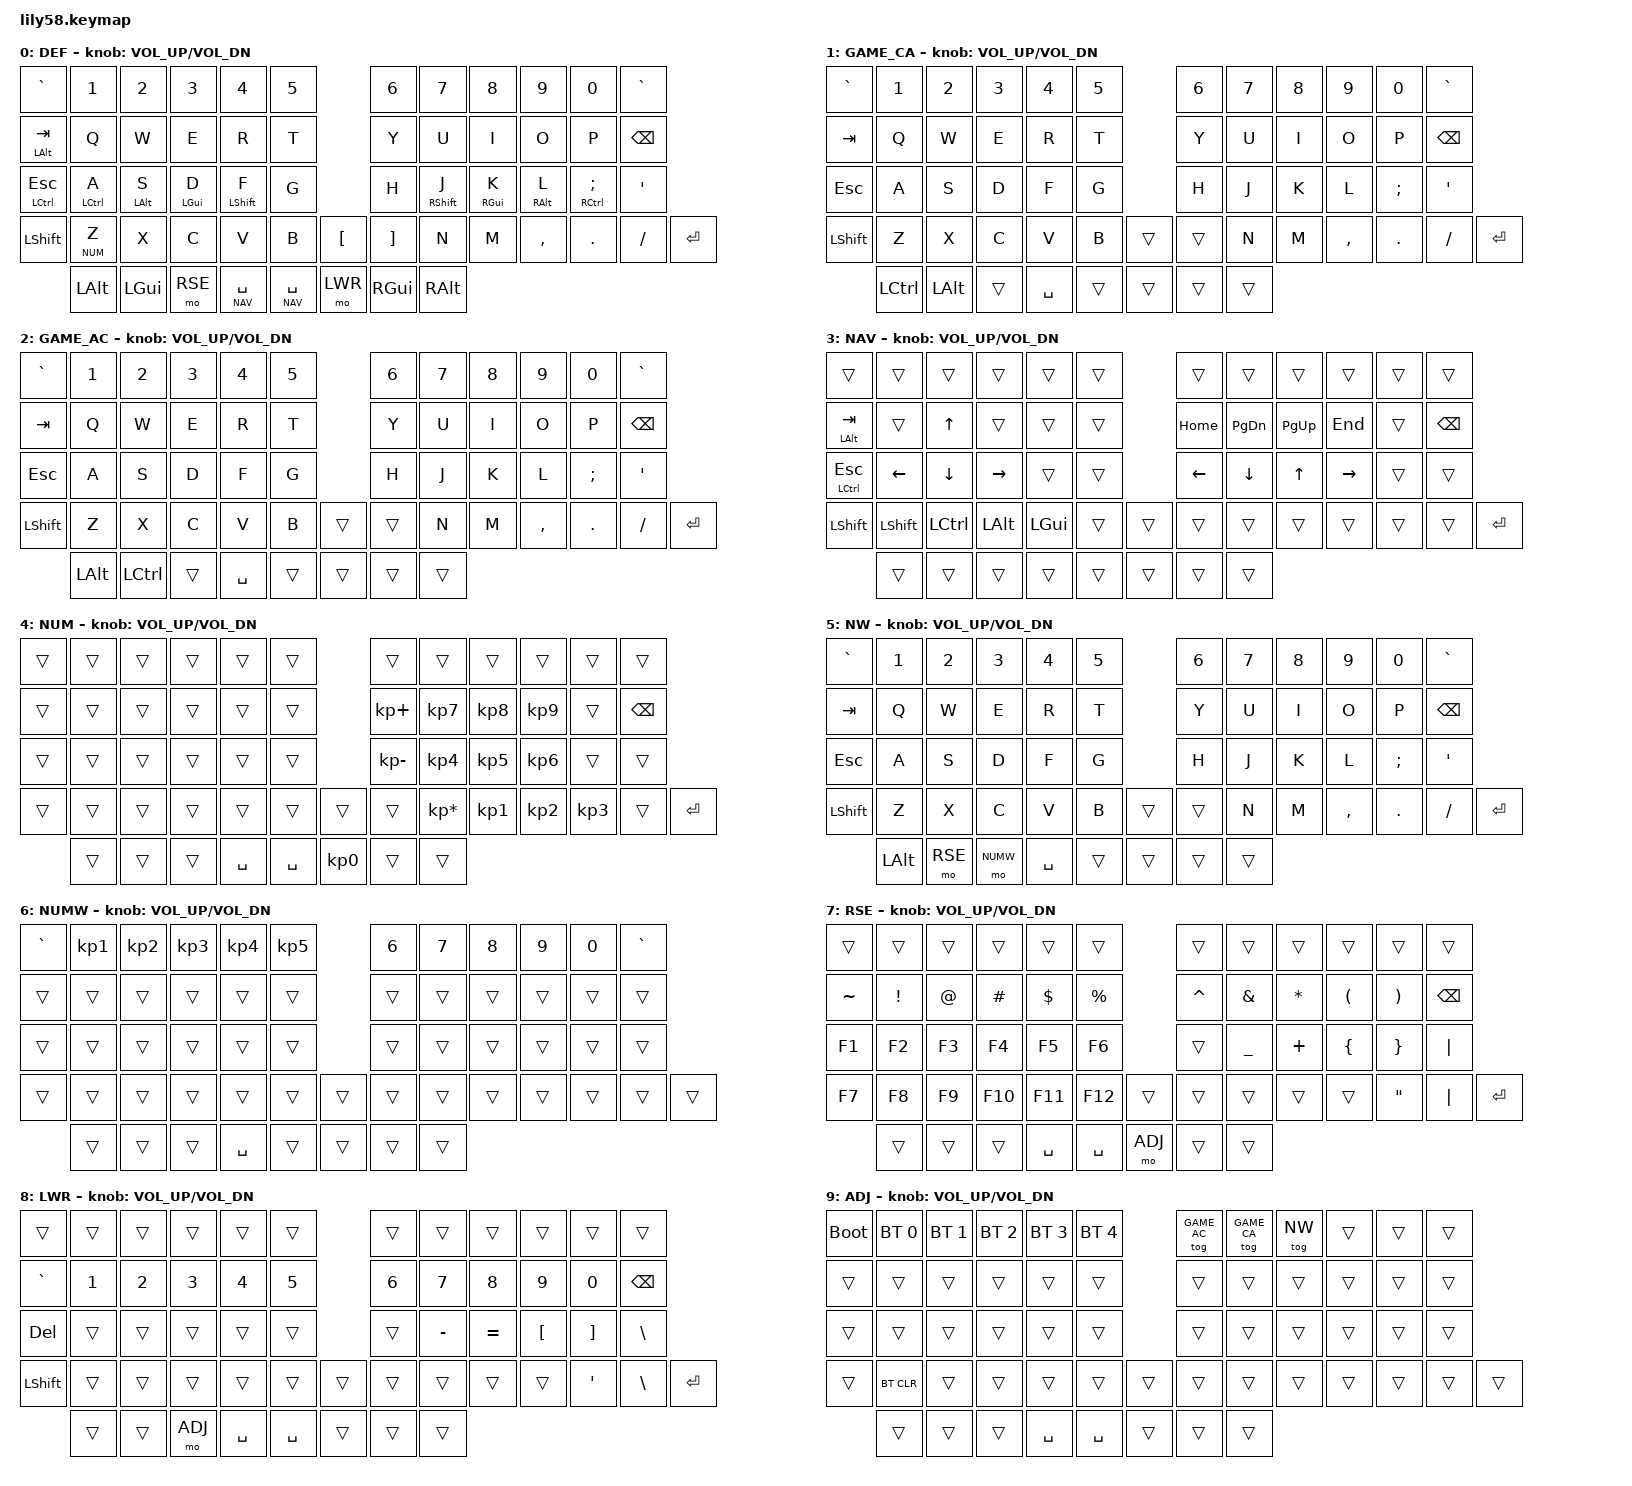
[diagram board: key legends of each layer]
/*
 * Copyright (c) 2020 The ZMK Contributors
 *
 * SPDX-License-Identifier: MIT
 */

#include <behaviors.dtsi>
#include <dt-bindings/zmk/keys.h>
#include <dt-bindings/zmk/bt.h>
#include <dt-bindings/zmk/ext_power.h>

&mt {
    flavor = "hold-preferred";
    tapping-term-ms = <150>;
};

&lt {
        #binding-cells = <2>;
        tapping-term-ms = <170>;
        quick-tap-ms = <150>;
        flavor = "tap-preferred";
};

// Layer aliases
#define DEF 0
#define GAME_CA 1
#define GAME_AC 2
#define NAV 3
#define NUM 4
#define NW 5
#define NUMW 6
#define RSE 7
#define LWR 8
#define ADJ 9

&caps_word {
    continue-list = <UNDERSCORE MINUS BSPC DEL N1 N2 N3 N4 N5 N6 N7 N8 N9 N0>;
};

/ {
        behaviors {
                am: alpha_mods {
                        compatible = "zmk,behavior-hold-tap";
                        label = "ALPHA_MT";
                        #binding-cells = <2>;
                        tapping-term-ms = <200>;
                        quick-tap-ms = <150>;
                        flavor = "tap-preferred";
                        bindings = <&kp>, <&kp>;
                };
                as: alpha_shift {
                        compatible = "zmk,behavior-hold-tap";
                        label = "ALPHA_SFT";
                        #binding-cells = <2>;
                        tapping-term-ms = <170>;
                        quick-tap-ms = <150>;
                        flavor = "tap-preferred";
                        bindings = <&kp>, <&kp>;
                };
        };

        combos {
                compatible = "zmk,combos";

                caps_word {
                        bindings = <&caps_word>;
                        key-positions = <17 18>;
                };
        };


		keymap {
				compatible = "zmk,keymap";

                default_layer {
                        label = "DEF";
                        bindings = <
// ╭─────────────┬──────────────┬─────────────┬──────────────┬─────────────┬─────────────╮   ╭──────────────┬──────────────┬─────────────┬─────────────┬───────────────┬────────────╮
	 &kp GRAVE     &kp N1 		  &kp N2 		 &kp N3   		&kp N4   		 &kp N5           &kp N6 	   &kp N7   	   &kp N8    	&kp N9  	 &kp N0   	 	 &kp GRAVE
// ├─────────────┼──────────────┼─────────────┼──────────────┼─────────────┼─────────────┤   ├──────────────┼──────────────┼─────────────┼─────────────┼───────────────┼────────────┤
     &mt LALT TAB  &kp Q          &kp W          &kp E          &kp R            &kp T            &kp Y        &kp U           &kp I        &kp O        &kp P           &kp BSPC
// ├─────────────┼──────────────┼─────────────┼──────────────┼─────────────┼─────────────┤   ├──────────────┼──────────────┼─────────────┼─────────────┼───────────────┼────────────┤
     &mt LCTRL ESC &am LCTRL A    &am LALT S     &am LGUI D     &as LSHFT F      &kp G            &kp H        &as RSHFT J     &am RGUI K   &am RALT L   &am RCTRL SEMI  &kp SQT
// ├─────────────┼──────────────┼─────────────┼──────────────┼─────────────┼─────────────┤   ├──────────────┼──────────────┼─────────────┼─────────────┼───────────────┼────────────┤
     &kp LSHFT     &lt NUM Z       &kp X         &kp C          &kp V            &kp B  &kp LBKT   &kp RBKT       &kp N        &kp M           &kp COMMA    &kp DOT      &kp FSLH        &kp RET
// ╰─────────────┴─────────────┴──────────────┼──────────────┼─────────────┼─────────────┤   ├──────────────┼──────────────┼─────────────┼─────────────┴───────────────┴────────────╯
				&kp LALT  &kp LGUI    &mo RSE      &lt NAV SPACE  		&lt NAV SPACE     &mo LWR       &kp RGUI	&kp RALT
			>;

			sensor-bindings = <&inc_dec_kp C_VOL_UP C_VOL_DN>;
		};

                game_ca_layer {
                        label= "GAME_CA";
                        bindings = <
// ╭─────────────┬──────────────┬─────────────┬──────────────┬─────────────┬─────────────╮   ╭──────────────┬──────────────┬─────────────┬─────────────┬───────────────┬────────────╮
     &kp GRAVE     &kp N1         &kp N2         &kp N3          &kp N4          &kp N5           &kp N6        &kp N7      &kp N8       &kp N9       &kp N0         &kp GRAVE
// ├─────────────┼──────────────┼─────────────┼──────────────┼─────────────┼─────────────┤   ├──────────────┼──────────────┼─────────────┼─────────────┼───────────────┼────────────┤
     &kp TAB       &kp Q          &kp W          &kp E          &kp R            &kp T            &kp Y        &kp U           &kp I        &kp O        &kp P           &kp BSPC
// ├─────────────┼──────────────┼─────────────┼──────────────┼─────────────┼─────────────┤   ├──────────────┼──────────────┼─────────────┼─────────────┼───────────────┼────────────┤
     &kp ESC       &kp A          &kp S          &kp D          &kp F            &kp G            &kp H        &kp J           &kp K        &kp L         &kp SEMI       &kp SQT
// ├─────────────┼──────────────┼─────────────┼──────────────┼─────────────┼─────────────┤   ├──────────────┼──────────────┼─────────────┼─────────────┼───────────────┼────────────┤
     &kp LSHFT     &kp Z          &kp X          &kp C          &kp V            &kp B  &trans   &trans          &kp N        &kp M           &kp COMMA    &kp DOT      &kp FSLH        &kp RET
// ╰─────────────┴─────────────┴──────────────┼──────────────┼─────────────┼─────────────┤   ├──────────────┼──────────────┼─────────────┼─────────────┴───────────────┴────────────╯
                          	                 &kp LCTRL &kp LALT  &trans  	&kp SPACE   	     &trans       &trans    &trans   &trans
                        >;
			sensor-bindings = <&inc_dec_kp C_VOL_UP C_VOL_DN>;
		};


                game_ac_layer {
                        label= "GAME_AC";
                        bindings = <
// ╭─────────────┬──────────────┬─────────────┬──────────────┬─────────────┬─────────────╮   ╭──────────────┬──────────────┬─────────────┬─────────────┬───────────────┬────────────╮
     &kp GRAVE     &kp N1         &kp N2         &kp N3          &kp N4          &kp N5           &kp N6        &kp N7      &kp N8       &kp N9       &kp N0         &kp GRAVE
// ├─────────────┼──────────────┼─────────────┼──────────────┼─────────────┼─────────────┤   ├──────────────┼──────────────┼─────────────┼─────────────┼───────────────┼────────────┤
     &kp TAB       &kp Q          &kp W          &kp E          &kp R            &kp T            &kp Y        &kp U           &kp I        &kp O        &kp P           &kp BSPC
// ├─────────────┼──────────────┼─────────────┼──────────────┼─────────────┼─────────────┤   ├──────────────┼──────────────┼─────────────┼─────────────┼───────────────┼────────────┤
     &kp ESC       &kp A          &kp S          &kp D          &kp F            &kp G            &kp H        &kp J           &kp K        &kp L         &kp SEMI       &kp SQT
// ├─────────────┼──────────────┼─────────────┼──────────────┼─────────────┼─────────────┤   ├──────────────┼──────────────┼─────────────┼─────────────┼───────────────┼────────────┤
     &kp LSHFT     &kp Z          &kp X          &kp C          &kp V            &kp B  &trans   &trans          &kp N        &kp M           &kp COMMA    &kp DOT      &kp FSLH        &kp RET
// ╰─────────────┴─────────────┴──────────────┼──────────────┼─────────────┼─────────────┤   ├──────────────┼──────────────┼─────────────┼─────────────┴───────────────┴────────────╯
                          	                 &kp LALT &kp LCTRL  &trans  	&kp SPACE   	     &trans       &trans    &trans   &trans
                        >;
			sensor-bindings = <&inc_dec_kp C_VOL_UP C_VOL_DN>;
		};

                nav_layer {
                        label = "NAV";
                        bindings = <
// ╭─────────────┬──────────────┬─────────────┬──────────────┬─────────────┬─────────────╮   ╭──────────────┬──────────────┬─────────────┬─────────────┬───────────────┬────────────╮
	&trans        &trans        &trans        &trans         &trans         &trans           &trans        &trans        &trans        &trans         &trans         &trans
// ├─────────────┼──────────────┼─────────────┼──────────────┼─────────────┼─────────────┤   ├──────────────┼──────────────┼─────────────┼─────────────┼───────────────┼────────────┤
     &mt LALT TAB   &trans          &kp UP       &trans          &trans        &trans             &kp HOME     &kp PG_DN     &kp PG_UP    &kp END        &trans        	&kp BSPC
// ├─────────────┼──────────────┼─────────────┼──────────────┼─────────────┼─────────────┤   ├──────────────┼──────────────┼─────────────┼─────────────┼───────────────┼────────────┤
     &mt LCTRL ESC  &kp LEFT       &kp DOWN      &kp RIGHT       &trans        &trans             &kp LEFT     &kp DOWN      &kp UP       &kp RIGHT      &trans        	&trans
// ├─────────────┼──────────────┼─────────────┼──────────────┼─────────────┼─────────────┤   ├──────────────┼──────────────┼─────────────┼─────────────┼───────────────┼────────────┤
     &kp LSHFT      &kp LSHFT      &kp LCTRL     &kp LALT        &kp LGUI      &trans   &trans   &trans          &trans       &trans        &trans       &trans         &trans        	&kp RET
// ╰─────────────┴─────────────┴──────────────┼──────────────┼─────────────┼─────────────┤   ├──────────────┼──────────────┼─────────────┼─────────────┴───────────────┴────────────╯
                          	   		&trans       &trans         &trans        &trans              &trans         &trans          &trans			&trans
			>;

			sensor-bindings = <&inc_dec_kp C_VOL_UP C_VOL_DN>;
		};

		numpad_layer {
                        label = "NUM";
                        bindings = <
// ╭─────────────┬──────────────┬─────────────┬──────────────┬─────────────┬─────────────╮   ╭──────────────┬──────────────┬─────────────┬─────────────┬───────────────┬────────────╮
	&trans        &trans        &trans        &trans         &trans         &trans           &trans        &trans        &trans        &trans         &trans         &trans
// ├─────────────┼──────────────┼─────────────┼──────────────┼─────────────┼─────────────┤   ├──────────────┼──────────────┼─────────────┼─────────────┼───────────────┼────────────┤
        &trans        &trans        &trans        &trans         &trans         &trans        &kp KP_PLUS      &kp KP_N7       &kp KP_N8     &kp KP_N9      &trans        &kp BSPC
// ├─────────────┼──────────────┼─────────────┼──────────────┼─────────────┼─────────────┤   ├───────────────┼──────────────┼─────────────┼─────────────┼──────────────┼────────────┤
        &trans        &trans        &trans        &trans         &trans         &trans        &kp KP_MINUS     &kp KP_N4       &kp KP_N5     &kp KP_N6      &trans        &trans
// ├─────────────┼──────────────┼─────────────┼──────────────┼─────────────┼─────────────┤   ├───────────────┼──────────────┼─────────────┼─────────────┼──────────────┼────────────┤
        &trans        &trans        &trans        &trans         &trans         &trans  &trans   &trans      &kp KP_MULTIPLY  &kp KP_N1       &kp KP_N2     &kp KP_N3      &trans        &kp RET
// ╰─────────────┴─────────────┴──────────────┼──────────────┼─────────────┼─────────────┤   ├───────────────┼──────────────┼─────────────┼─────────────┴──────────────┴────────────╯
                       	                 &trans       &trans     &trans     &kp SPACE     	&kp SPACE     &kp KP_N0   &trans    &trans
			>;

			sensor-bindings = <&inc_dec_kp C_VOL_UP C_VOL_DN>;
		};

                new_world_layer {
                        label= "NW";
                        bindings = <
// ╭─────────────┬──────────────┬─────────────┬──────────────┬─────────────┬─────────────╮   ╭──────────────┬──────────────┬─────────────┬─────────────┬───────────────┬────────────╮
     &kp GRAVE     &kp N1         &kp N2         &kp N3          &kp N4          &kp N5           &kp N6        &kp N7      &kp N8       &kp N9       &kp N0         &kp GRAVE
// ├─────────────┼──────────────┼─────────────┼──────────────┼─────────────┼─────────────┤   ├──────────────┼──────────────┼─────────────┼─────────────┼───────────────┼────────────┤
     &kp TAB       &kp Q          &kp W          &kp E          &kp R            &kp T            &kp Y        &kp U           &kp I        &kp O        &kp P           &kp BSPC
// ├─────────────┼──────────────┼─────────────┼──────────────┼─────────────┼─────────────┤   ├──────────────┼──────────────┼─────────────┼─────────────┼───────────────┼────────────┤
     &kp ESC       &kp A          &kp S          &kp D          &kp F            &kp G            &kp H        &kp J           &kp K        &kp L         &kp SEMI       &kp SQT
// ├─────────────┼──────────────┼─────────────┼──────────────┼─────────────┼─────────────┤   ├──────────────┼──────────────┼─────────────┼─────────────┼───────────────┼────────────┤
     &kp LSHFT     &kp Z          &kp X          &kp C          &kp V            &kp B  &trans   &trans          &kp N        &kp M           &kp COMMA    &kp DOT      &kp FSLH        &kp RET
// ╰─────────────┴─────────────┴──────────────┼──────────────┼─────────────┼─────────────┤   ├──────────────┼──────────────┼─────────────┼─────────────┴───────────────┴────────────╯
                          	                 &kp LALT    &mo RSE   &mo NUMW   &kp SPACE   	  &trans       &trans    &trans   &trans
                        >;
			sensor-bindings = <&inc_dec_kp C_VOL_UP C_VOL_DN>;
		};

                num_new_world_layer {
                        label= "NUMW";
                        bindings = <
// ╭─────────────┬──────────────┬─────────────┬──────────────┬─────────────┬─────────────╮   ╭──────────────┬──────────────┬─────────────┬─────────────┬───────────────┬────────────╮
     &kp GRAVE    &kp KP_N1       &kp KP_N2     &kp KP_N3    &kp KP_N4       &kp KP_N5           &kp N6        &kp N7      &kp N8       &kp N9       &kp N0         &kp GRAVE
// ├─────────────┼──────────────┼─────────────┼──────────────┼─────────────┼─────────────┤   ├──────────────┼──────────────┼─────────────┼─────────────┼───────────────┼────────────┤
   &trans         &trans           &trans     &trans          &trans        &trans            &trans          &trans          &trans        &trans       &trans         &trans
// ├─────────────┼──────────────┼─────────────┼──────────────┼─────────────┼─────────────┤   ├──────────────┼──────────────┼─────────────┼─────────────┼───────────────┼────────────┤
   &trans         &trans           &trans     &trans          &trans        &trans            &trans          &trans          &trans        &trans       &trans         &trans
// ├─────────────┼──────────────┼─────────────┼──────────────┼─────────────┼─────────────┤   ├──────────────┼──────────────┼─────────────┼─────────────┼───────────────┼────────────┤
   &trans          &trans          &trans     &trans          &trans        &trans   &trans   &trans  &trans          &trans          &trans        &trans       &trans         &trans
// ╰─────────────┴─────────────┴──────────────┼──────────────┼─────────────┼─────────────┤   ├──────────────┼──────────────┼─────────────┼─────────────┴───────────────┴────────────╯
                          	                 &trans &trans  &trans &kp SPACE   	     &trans       &trans    &trans   &trans
                        >;
			sensor-bindings = <&inc_dec_kp C_VOL_UP C_VOL_DN>;
		};

                raise_layer {
                        label = "RSE";
                        bindings = <
// ╭─────────────┬──────────────┬─────────────┬──────────────┬─────────────┬─────────────╮   ╭──────────────┬──────────────┬─────────────┬─────────────┬───────────────┬────────────╮
	&trans        &trans        &trans        &trans         &trans         &trans           &trans        &trans        &trans        &trans         &trans         &trans
// ├─────────────┼──────────────┼─────────────┼──────────────┼─────────────┼─────────────┤   ├──────────────┼──────────────┼─────────────┼─────────────┼───────────────┼────────────┤
     &kp TILDE      &kp EXCL        &kp AT        &kp HASH      &kp DLLR      &kp PRCNT         &kp CARET       &kp AMPS       &kp STAR      &kp LPAR     &kp RPAR       &kp BSPC
// ├─────────────┼──────────────┼─────────────┼──────────────┼─────────────┼─────────────┤   ├──────────────┼──────────────┼─────────────┼─────────────┼──────────────┼────────────┤
     &kp F1          &kp F2        &kp F3        &kp F4        &kp F5            &kp F6          &trans         &kp UNDER      &kp PLUS      &kp LBRC     &kp RBRC       &kp PIPE
// ├─────────────┼──────────────┼─────────────┼──────────────┼─────────────┼─────────────┤   ├──────────────┼──────────────┼─────────────┼─────────────┼──────────────┼────────────┤
     &kp F7          &kp F8        &kp F9        &kp F10       &kp F11           &kp F12   &trans   &trans    &trans     &trans         &trans        &kp DQT      &kp PIPE       &kp RET
// ╰─────────────┴─────────────┴──────────────┼──────────────┼─────────────┼─────────────┤   ├──────────────┼──────────────┼─────────────┼─────────────┴──────────────┴────────────╯
                    	                        &trans     &trans    &trans    &kp SPACE         &kp SPACE     &mo ADJ    &trans 	&trans
			>;

			sensor-bindings = <&inc_dec_kp C_VOL_UP C_VOL_DN>;
		};

                lower_layer {
                        label = "LWR";
                        bindings = <
// ╭─────────────┬──────────────┬─────────────┬──────────────┬─────────────┬─────────────╮   ╭──────────────┬──────────────┬─────────────┬─────────────┬───────────────┬────────────╮
	&trans        &trans        &trans        &trans         &trans         &trans           &trans        &trans        &trans        &trans         &trans         &trans
// ├─────────────┼──────────────┼─────────────┼──────────────┼─────────────┼─────────────┤   ├──────────────┼──────────────┼─────────────┼─────────────┼───────────────┼────────────┤
   &kp GRAVE          &kp N1        &kp N2          &kp N3        &kp N4        &kp N5          &kp N6          &kp N7          &kp N8       &kp N9        &kp N0       &kp BSPC
// ├─────────────┼──────────────┼─────────────┼──────────────┼─────────────┼─────────────┤   ├──────────────┼──────────────┼─────────────┼─────────────┼──────────────┼────────────┤
   &kp DEL            &trans        &trans          &trans        &trans        &trans          &trans          &kp MINUS       &kp EQUAL    &kp LBKT      &kp RBKT     &kp BSLH
// ├─────────────┼──────────────┼─────────────┼──────────────┼─────────────┼─────────────┤   ├──────────────┼──────────────┼─────────────┼─────────────┼──────────────┼────────────┤
   &kp LSHFT          &trans        &trans          &trans        &trans        &trans  &trans   &trans        &trans          &trans          &trans       &kp SQT       &kp BSLH     &kp RET
// ╰─────────────┴─────────────┴──────────────┼──────────────┼─────────────┼─────────────┤   ├──────────────┼──────────────┼─────────────┼─────────────┴──────────────┴────────────╯
                    	                    &trans     &trans  &mo ADJ   &kp SPACE      		  &kp SPACE       &trans      &trans   &trans
			>;

			sensor-bindings = <&inc_dec_kp C_VOL_UP C_VOL_DN>;
		};

                adjust_layer {
                        label = "ADJ";
                        bindings = <
// ╭─────────────┬──────────────┬─────────────┬──────────────┬─────────────┬─────────────╮   ╭──────────────┬──────────────┬─────────────┬─────────────┬───────────────┬────────────╮
   &bootloader     &bt BT_SEL 0  &bt BT_SEL 1   &bt BT_SEL 2  &bt BT_SEL 3   &bt BT_SEL 4       &tog GAME_AC  &tog GAME_CA      &tog NW       &trans        &trans         &trans
// ├─────────────┼──────────────┼─────────────┼──────────────┼─────────────┼─────────────┤   ├──────────────┼──────────────┼─────────────┼─────────────┼───────────────┼────────────┤
   &trans          &trans          &trans          &trans        &trans       &trans            &trans          &trans          &trans        &trans       &trans         &trans
// ├─────────────┼──────────────┼─────────────┼──────────────┼─────────────┼─────────────┤   ├──────────────┼──────────────┼─────────────┼─────────────┼──────────────┼────────────┤
   &trans          &trans          &trans          &trans        &trans       &trans            &trans          &trans          &trans        &trans       &trans         &trans
// ├─────────────┼──────────────┼─────────────┼──────────────┼─────────────┼─────────────┤   ├──────────────┼──────────────┼─────────────┼─────────────┼──────────────┼────────────┤
   &trans          &bt BT_CLR      &trans          &trans        &trans       &trans   &trans   &trans         &trans          &trans          &trans        &trans       &trans         &trans
// ╰─────────────┴──────────────┴─────────────┼──────────────┼─────────────┼─────────────┤   ├──────────────┼──────────────┼─────────────┼─────────────┴──────────────┴────────────╯
                    	                        &trans     &trans    &trans     &kp SPACE       &kp SPACE   &trans     &trans    &trans
			>;

			sensor-bindings = <&inc_dec_kp C_VOL_UP C_VOL_DN>;
		};

	};
};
